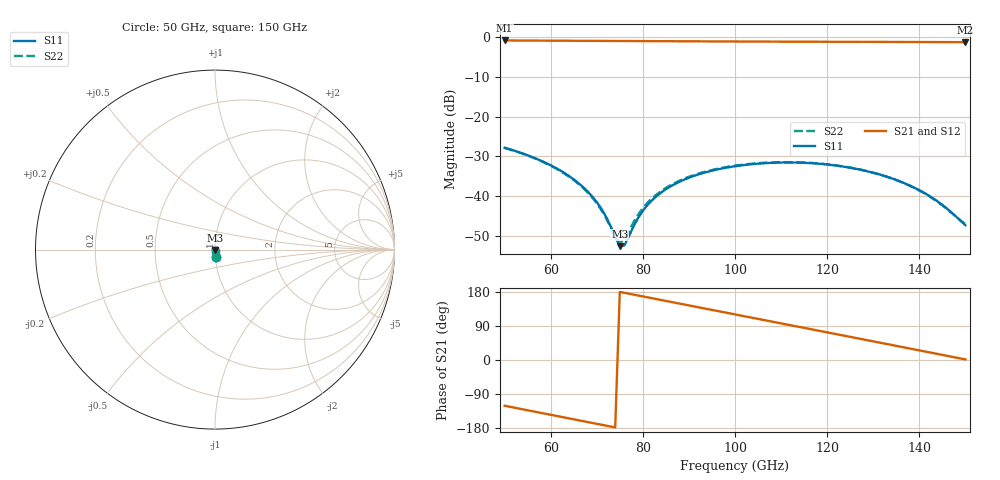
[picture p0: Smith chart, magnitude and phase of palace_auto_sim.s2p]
#  GHZ S DB R 50
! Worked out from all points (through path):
!   101 points, 50 GHz to 150 GHz, reference 50 ohm
!   highest |S21| = -0.79 dB at 50 GHz (marker M1); lowest = -1.2 dB at 150 GHz (marker M2)
!   group delay of S21, straight-line fit = 6.6 ps
!   lowest |S11| = -52.6 dB at 75 GHz (marker M3), VSWR 1.00, Z = 50.1 - j0.217 ohm
!   |S11| at or under -10 dB: start of sweep to end of sweep
!   |S22| runs from -51.8 to -27.9 dB; largest |S21 - S12| = 1e-13
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50  -27.83 -85.2  -0.79 -120.8  -0.79 -120.8  -27.88 -85.0
60  -32.25 -105.0  -0.85 -144.6  -0.85 -144.6  -32.36 -104.5
64  -34.98 -111.8  -0.87 -154.1  -0.87 -154.1  -35.13 -110.9
67  -37.71 -115.7  -0.89 -161.3  -0.89 -161.3  -37.92 -114.2
71  -43.20 -115.3  -0.91 -170.8  -0.91 -170.8  -43.53 -111.9
72  -45.19 -112.3  -0.91 -173.2  -0.91 -173.2  -45.54 -107.7
74  -50.31 -93.2  -0.92 -177.9  -0.92 -177.9  -50.31 -83.8
75  -52.64 -68.3  -0.93 179.7  -0.93 179.7  -51.80 -57.9
76  -52.46 -35.7  -0.93 177.3  -0.93 177.3  -50.97 -30.1
78  -47.59 -1.9  -0.94 172.5  -0.94 172.5  -46.57 -2.5
80  -43.73 6.3  -0.95 167.8  -0.95 167.8  -43.08 4.9
84  -39.09 6.5  -0.98 158.3  -0.98 158.3  -38.73 5.2
87  -36.94 2.8  -0.99 151.1  -0.99 151.1  -36.66 1.7
91  -34.97 -3.4  -1.01 141.7  -1.01 141.7  -34.76 -4.4
100  -32.50 -19.7  -1.06 120.3  -1.06 120.3  -32.36 -20.4
109  -31.59 -37.3  -1.09 99.0  -1.09 99.0  -31.49 -37.8
117  -31.76 -53.6  -1.12 80.0  -1.12 80.0  -31.69 -53.9
125  -32.87 -70.0  -1.14 61.1  -1.14 61.1  -32.84 -70.1
134  -35.54 -87.1  -1.17 39.7  -1.17 39.7  -35.56 -86.6
139  -37.94 -94.6  -1.18 27.8  -1.18 27.8  -38.01 -93.4
143  -40.59 -97.8  -1.20 18.2  -1.20 18.2  -40.69 -95.5
150  -47.36 -81.1  -1.22 1.6  -1.22 1.6  -47.06 -74.2
